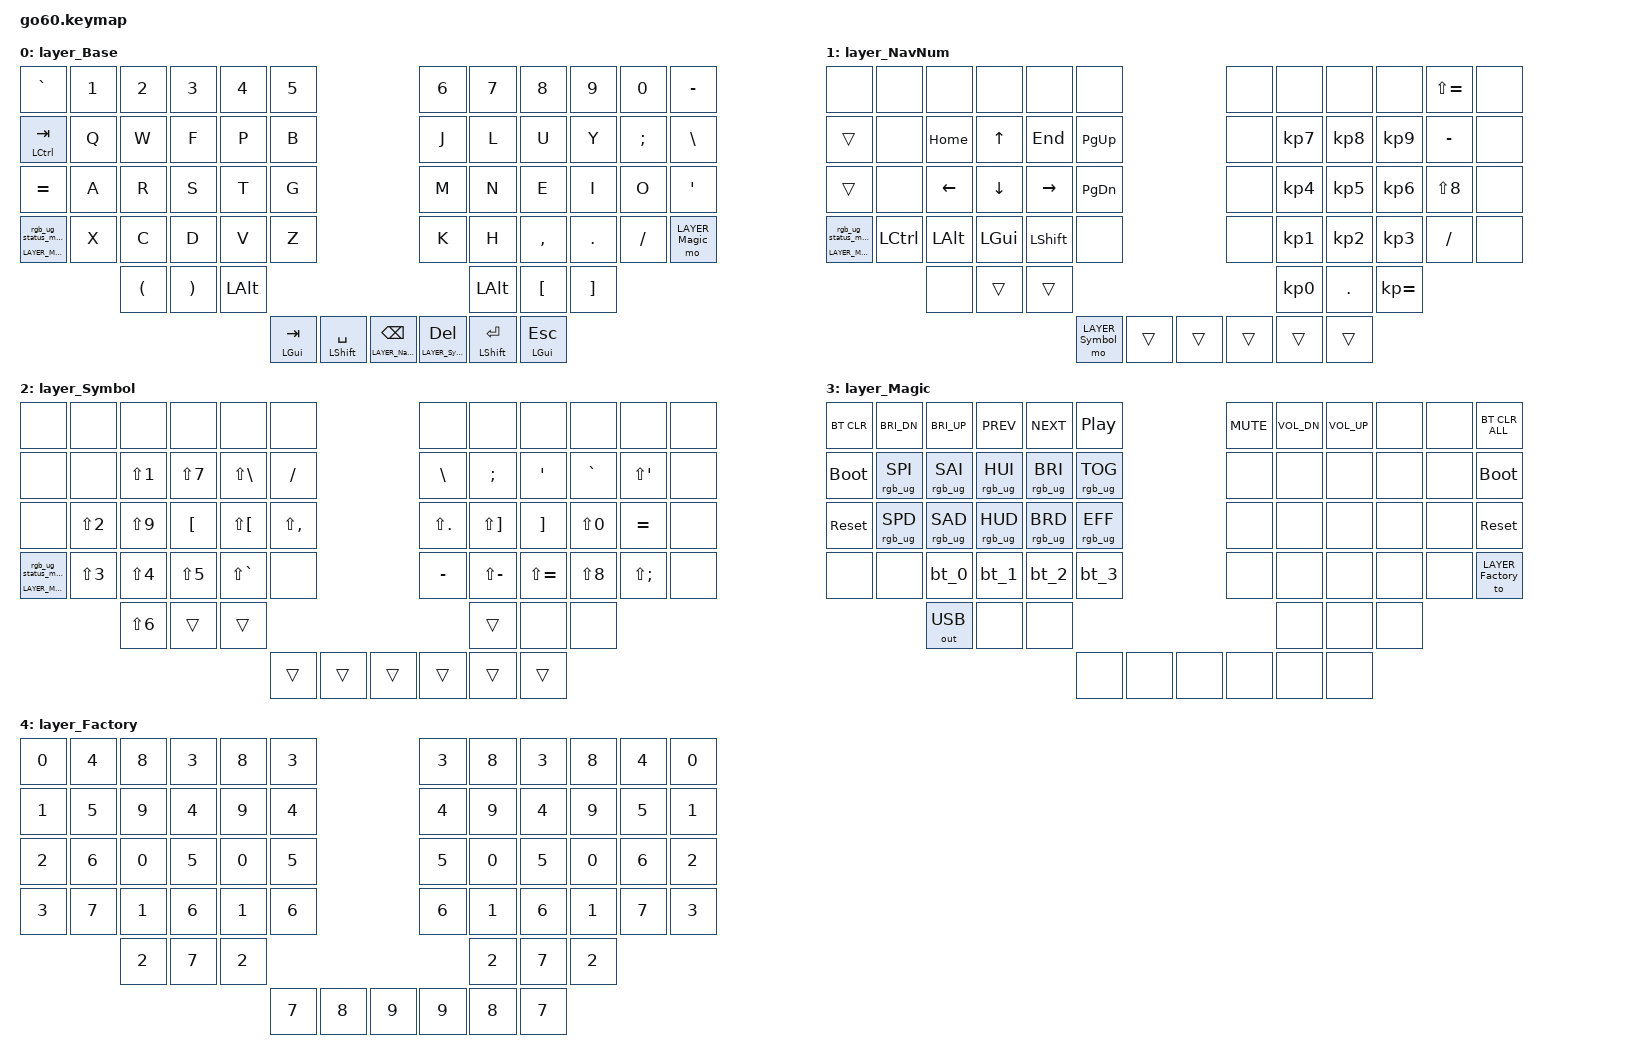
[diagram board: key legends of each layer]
/*
 * Copyright (c) 2020 The ZMK Contributors
 * Copyright (c) 2025 Innaworks Development Limited, trading as MoErgo
 *
 * SPDX-License-Identifier: MIT
 */


/* THIS FILE WAS GENERATED BY GO60 LAYOUT EDITOR
 *
 * This file was generated automatically. You may or may not want to
 * edit it directly.
 */

#include <behaviors.dtsi>

/* Include all behavior includes needed */

#include <dt-bindings/zmk/outputs.h>
#include <dt-bindings/zmk/keys.h>
#include <dt-bindings/zmk/bt.h>
#include <dt-bindings/zmk/rgb.h>

#include <input/processors.dtsi>
#include <dt-bindings/zmk/input_transform.h>
#include <zephyr/dt-bindings/input/input-event-codes.h>

/* On demand includes */
#include <dt-bindings/zmk/input_transform.h>
#include <dt-bindings/zmk/pointing.h>
#include <input/processors.dtsi>

/* Helper Macros, based on https://github.com/urob/zmk-helpers/ */

#pragma once

#define ZMK_HELPER_STRINGIFY(x) #x

// Preprocessor mechanism to overload macros, cf. https://stackoverflow.com/a/27051616/6114651
#define VARGS_(_10, _9, _8, _7, _6, _5, _4, _3, _2, _1, N, ...) N
#define VARGS(...) VARGS_(__VA_ARGS__, 10, 9, 8, 7, 6, 5, 4, 3, 2, 1, 0)
#define CONCAT_(a, b) a##b
#define CONCAT(a, b) CONCAT_(a, b)

#define ZMK_BEHAVIOR_CORE_tap_dance  \
    compatible = "zmk,behavior-tap-dance"; \
    #binding-cells = <0>

#define ZMK_BEHAVIOR(name, type, ...) \
    name: name { \
        ZMK_BEHAVIOR_CORE_ ## type; \
        __VA_ARGS__ \
    };

#define ZMK_TAP_DANCE(name, ...) \
    ZMK_BEHAVIOR(name, tap_dance, __VA_ARGS__)

#define ZMK_TD_LAYER(name, layer) \
    ZMK_TAP_DANCE(name, \
        tapping-term-ms = <200>; \
        bindings = <&mo layer>, <&to layer>; \
)





/* Key positions */

#define POS_LH_C6R1 0
#define POS_LH_C5R1 1
#define POS_LH_C4R1 2
#define POS_LH_C3R1 3
#define POS_LH_C2R1 4
#define POS_LH_C1R1 5
#define POS_RH_C1R1 6
#define POS_RH_C2R1 7
#define POS_RH_C3R1 8
#define POS_RH_C4R1 9
#define POS_RH_C5R1 10
#define POS_RH_C6R1 11
#define POS_LH_C6R2 12
#define POS_LH_C5R2 13
#define POS_LH_C4R2 14
#define POS_LH_C3R2 15
#define POS_LH_C2R2 16
#define POS_LH_C1R2 17
#define POS_RH_C1R2 18
#define POS_RH_C2R2 19
#define POS_RH_C3R2 20
#define POS_RH_C4R2 21
#define POS_RH_C5R2 22
#define POS_RH_C6R2 23
#define POS_LH_C6R3 24
#define POS_LH_C5R3 25
#define POS_LH_C4R3 26
#define POS_LH_C3R3 27
#define POS_LH_C2R3 28
#define POS_LH_C1R3 29
#define POS_RH_C1R3 30
#define POS_RH_C2R3 31
#define POS_RH_C3R3 32
#define POS_RH_C4R3 33
#define POS_RH_C5R3 34
#define POS_RH_C6R3 35
#define POS_LH_C6R4 36
#define POS_LH_C5R4 37
#define POS_LH_C4R4 38
#define POS_LH_C3R4 39
#define POS_LH_C2R4 40
#define POS_LH_C1R4 41
#define POS_RH_C1R4 42
#define POS_RH_C2R4 43
#define POS_RH_C3R4 44
#define POS_RH_C4R4 45
#define POS_RH_C5R4 46
#define POS_RH_C6R4 47
#define POS_LH_C4R5 48
#define POS_LH_C3R5 49
#define POS_LH_C2R5 50
#define POS_RH_C2R5 51
#define POS_RH_C3R5 52
#define POS_RH_C4R5 53
#define POS_LH_T1 54
#define POS_LH_T2 55
#define POS_LH_T3 56
#define POS_RH_T3 57
#define POS_RH_T2 58
#define POS_RH_T1 59


#define LEFT_HAND_KEYS \
  POS_LH_C1R1 POS_LH_C2R1 POS_LH_C3R1 POS_LH_C4R1 POS_LH_C5R1 POS_LH_C6R1 \
  POS_LH_C1R2 POS_LH_C2R2 POS_LH_C3R2 POS_LH_C4R2 POS_LH_C5R2 POS_LH_C6R2 \
  POS_LH_C1R3 POS_LH_C2R3 POS_LH_C3R3 POS_LH_C4R3 POS_LH_C5R3 POS_LH_C6R3 \
  POS_LH_C1R4 POS_LH_C2R4 POS_LH_C3R4 POS_LH_C4R4 POS_LH_C5R4 POS_LH_C6R4 \
              POS_LH_C2R5 POS_LH_C3R5 POS_LH_C4R5

#define RIGHT_HAND_KEYS \
  POS_RH_C1R1 POS_RH_C2R1 POS_RH_C3R1 POS_RH_C4R1 POS_RH_C5R1 POS_RH_C6R1 \
  POS_RH_C1R2 POS_RH_C2R2 POS_RH_C3R2 POS_RH_C4R2 POS_RH_C5R2 POS_RH_C6R2 \
  POS_RH_C1R3 POS_RH_C2R3 POS_RH_C3R3 POS_RH_C4R3 POS_RH_C5R3 POS_RH_C6R3 \
  POS_RH_C1R4 POS_RH_C2R4 POS_RH_C3R4 POS_RH_C4R4 POS_RH_C5R4 POS_RH_C6R4 \
              POS_RH_C2R5 POS_RH_C3R5 POS_RH_C4R5

#define THUMB_KEYS \
  POS_LH_T1 POS_LH_T2 POS_LH_T3 \
  POS_RH_T1 POS_RH_T2 POS_RH_T3

/* Environment and metadata defines */
#define KB_TYPE_GLOVE_80 1
#define KB_TYPE_GO_60    2

#define KB_TYPE          KB_TYPE_GO_60
#define EDITOR_HOST_OS   'M'

/* Automatically generated layer name defines */
#define LAYER_Base 0
#define LAYER_NavNum 1
#define LAYER_Symbol 2
#define LAYER_Magic 3
#define LAYER_Factory 4

/* To deal with the situation where there is no Lower layer, to keep &lower happy */
#ifndef LAYER_Lower
#define LAYER_Lower 0
#endif

/* Generated input processors */
/ {
    input_processors {
        zip_click_to_right_click_mapper: zip_click_to_right_click_mapper {
            compatible = "zmk,input-processor-code-mapper";
            #input-processor-cells = <0>;
            type = <INPUT_EV_KEY>;
            map = <INPUT_BTN_0 INPUT_BTN_1>;
        };
    };
};

/* Custom Device-tree */


/* Input Listeners */
&cirque_rh_listener {
    input-processors = <&zip_xy_scaler 3 1>;
    layer_Symbol {
        layers = <LAYER_Symbol>;
        input-processors = <&zip_xy_scaler 9 1>;
    };
};

&cirque_lh_listener {
    input-processors = <&zip_xy_scaler 11 12>, <&zip_xy_transform INPUT_TRANSFORM_Y_INVERT>, <&zip_xy_to_scroll_mapper>, <&zip_click_to_right_click_mapper>;
    layer_Factory {
        layers = <LAYER_Factory>;
        input-processors = <&zip_xy_scaler 3 1>;
    };
};

/* System behavior and macros */
/ {
    behaviors {
        ZMK_TD_LAYER(lower, LAYER_Lower)
    };
};

/ {
    macros {
        rgb_ug_status_macro: rgb_ug_status_macro {
            label = "RGB_UG_STATUS";
            compatible = "zmk,behavior-macro";
            #binding-cells = <0>;
            bindings
                = <&rgb_ug RGB_STATUS>;
        };
    };
};

/ {
#ifdef BT_DISC_CMD
    behaviors {
        bt_0: bt_0 {
            compatible = "zmk,behavior-tap-dance";
            label = "BT_0";
            #binding-cells = <0>;
            tapping-term-ms = <200>;
            bindings = <&bt_select_0>, <&bt BT_DISC 0>;
        };
        bt_1: bt_1 {
            compatible = "zmk,behavior-tap-dance";
            label = "BT_1";
            #binding-cells = <0>;
            tapping-term-ms = <200>;
            bindings = <&bt_select_1>, <&bt BT_DISC 1>;
        };
        bt_2: bt_2 {
            compatible = "zmk,behavior-tap-dance";
            label = "BT_2";
            #binding-cells = <0>;
            tapping-term-ms = <200>;
            bindings = <&bt_select_2>, <&bt BT_DISC 2>;
        };
        bt_3: bt_3 {
            compatible = "zmk,behavior-tap-dance";
            label = "BT_3";
            #binding-cells = <0>;
            tapping-term-ms = <200>;
            bindings = <&bt_select_3>, <&bt BT_DISC 3>;
        };
    };
    macros {
        bt_select_0: bt_select_0 {
            label = "BT_SELECT_0";
            compatible = "zmk,behavior-macro";
            #binding-cells = <0>;
            bindings
                = <&out OUT_BLE>,
                  <&bt BT_SEL 0>;
        };
        bt_select_1: bt_select_1 {
            label = "BT_SELECT_1";
            compatible = "zmk,behavior-macro";
            #binding-cells = <0>;
            bindings
                = <&out OUT_BLE>,
                  <&bt BT_SEL 1>;
        };
        bt_select_2: bt_select_2 {
            label = "BT_SELECT_2";
            compatible = "zmk,behavior-macro";
            #binding-cells = <0>;
            bindings
                = <&out OUT_BLE>,
                  <&bt BT_SEL 2>;
        };
        bt_select_3: bt_select_3 {
            label = "BT_SELECT_3";
            compatible = "zmk,behavior-macro";
            #binding-cells = <0>;
            bindings
                = <&out OUT_BLE>,
                  <&bt BT_SEL 3>;
        };
    };
#else
    macros {
        bt_0: bt_0 {
            label = "BT_0";
            compatible = "zmk,behavior-macro";
            #binding-cells = <0>;
            bindings
                = <&out OUT_BLE>,
                  <&bt BT_SEL 0>;
        };
        bt_1: bt_1 {
            label = "BT_1";
            compatible = "zmk,behavior-macro";
            #binding-cells = <0>;
            bindings
                = <&out OUT_BLE>,
                  <&bt BT_SEL 1>;
        };
        bt_2: bt_2 {
            label = "BT_2";
            compatible = "zmk,behavior-macro";
            #binding-cells = <0>;
            bindings
                = <&out OUT_BLE>,
                  <&bt BT_SEL 2>;
        };
        bt_3: bt_3 {
            label = "BT_3";
            compatible = "zmk,behavior-macro";
            #binding-cells = <0>;
            bindings
                = <&out OUT_BLE>,
                  <&bt BT_SEL 3>;
        };
    };
#endif
};

/ {
    behaviors {
        magic: magic {
            compatible = "zmk,behavior-hold-tap";
            label = "MAGIC_HOLD_TAP";
            #binding-cells = <2>;
            flavor = "tap-preferred";
            tapping-term-ms = <200>;
            bindings = <&mo>, <&rgb_ug_status_macro>;
        };
    };
};


/* Custom Defined Behaviors */
// Tap then hold the Symbol thumb (Delete) to repeat Delete.
&lt {
    quick-tap-ms = <200>;
};

/ {
    behaviors {
        // Nav thumb: tap = Backspace, hold = NavNum.
        // "balanced" so a quick Nav+arrow still counts as a hold.
        lt_nav: lt_nav {
            compatible = "zmk,behavior-hold-tap";
            #binding-cells = <2>;
            flavor = "balanced";
            tapping-term-ms = <200>;
            quick-tap-ms = <200>;
            bindings = <&mo>, <&kp>;
        };
        // Tab/Ctrl edge key and Space/Shift, Enter/Shift, Esc/Cmd thumbs: tap = key, hold = modifier.
        // Tap then hold repeats the key.
        mt_thumb: mt_thumb {
            compatible = "zmk,behavior-hold-tap";
            #binding-cells = <2>;
            flavor = "balanced";
            tapping-term-ms = <200>;
            quick-tap-ms = <200>;
            bindings = <&kp>, <&kp>;
        };
    };
};

/* Automatically generated macro definitions */
/ {
    macros {

    };
};

/* Automatically generated behavior definitions */
/ {
    behaviors {

    };
};

/* Automatically generated combos definitions */


/* Automatically generated keymap */
/ {
    keymap {
        compatible = "zmk,keymap";


        layer_Base {
            bindings = <
              &kp GRAVE  &kp N1     &kp N2   &kp N3    &kp N4  &kp N5                                                                                              &kp N6     &kp N7     &kp N8    &kp N9    &kp N0        &kp MINUS
              &mt_thumb LCTRL TAB   &kp Q      &kp W    &kp F     &kp P   &kp B                                                                                               &kp J      &kp L      &kp U     &kp Y  &kp SEMI         &kp BSLH
            &kp EQUAL   &kp A      &kp R    &kp S     &kp T   &kp G                                                                                               &kp M      &kp N      &kp E     &kp I     &kp O          &kp SQT
 &magic LAYER_Magic 0   &kp X      &kp C    &kp D     &kp V   &kp Z                                                                                               &kp K      &kp H  &kp COMMA   &kp DOT  &kp FSLH  &mo LAYER_Magic
                               &kp LPAR  &kp RPAR  &kp LALT                                                                                                              &kp LALT   &kp LBKT  &kp RBKT
                                                                     &mt LGUI TAB  &mt_thumb LSHFT SPACE  &lt_nav LAYER_NavNum BSPC  &lt LAYER_Symbol DEL  &mt_thumb LSHFT RET  &mt_thumb LGUI ESC
            >;
        };

        layer_NavNum {
            bindings = <
                &none   &none     &none     &none      &none      &none                                                              &none      &none      &none         &none  &kp LS(EQUAL)   &none
               &trans   &none  &kp HOME    &kp UP    &kp END  &kp PG_UP                                                              &none  &kp KP_N7  &kp KP_N8     &kp KP_N9      &kp MINUS   &none
               &trans   &none  &kp LEFT  &kp DOWN  &kp RIGHT  &kp PG_DN                                                              &none  &kp KP_N4  &kp KP_N5     &kp KP_N6     &kp LS(N8)   &none
 &magic LAYER_Magic 0   &kp LCTRL  &kp LALT  &kp LGUI  &kp LSHFT  &none                                                              &none  &kp KP_N1  &kp KP_N2     &kp KP_N3       &kp FSLH   &none
                                  &none    &trans     &trans                                                                                &kp KP_N0    &kp DOT  &kp KP_EQUAL
                                                                         &mo LAYER_Symbol  &trans  &trans  &trans  &trans  &trans
            >;
        };

        layer_Symbol {
            bindings = <
                &none       &none       &none       &none         &none          &none                                                        &none         &none     &none       &none   &none   &none
                &none       &none  &kp LS(N1)  &kp LS(N7)  &kp LS(BSLH)       &kp FSLH                                                     &kp BSLH      &kp SEMI   &kp SQT   &kp GRAVE   &kp LS(SQT)   &none
                &none  &kp LS(N2)  &kp LS(N9)    &kp LBKT  &kp LS(LBKT)  &kp LS(COMMA)                                                  &kp LS(DOT)  &kp LS(RBKT)  &kp RBKT  &kp LS(N0)   &kp EQUAL   &none
 &magic LAYER_Magic 0  &kp LS(N3)  &kp LS(N4)  &kp LS(N5)  &kp LS(GRAVE)          &none                                                    &kp MINUS  &kp LS(MINUS)  &kp LS(EQUAL)  &kp LS(N8)   &kp LS(SEMI)   &none
                                   &kp LS(N6)      &trans        &trans                                                                                    &trans     &none       &none
                                                                                         &trans  &trans  &trans  &trans  &trans  &trans
            >;
        };

        layer_Magic {
            bindings = <
  &bt BT_CLR     &kp C_BRI_DN     &kp C_BRI_UP       &kp C_PREV       &kp C_NEXT         &kp C_PP                                                  &kp C_MUTE  &kp C_VOL_DN  &kp C_VOL_UP   &none   &none     &bt BT_CLR_ALL
 &bootloader  &rgb_ug RGB_SPI  &rgb_ug RGB_SAI  &rgb_ug RGB_HUI  &rgb_ug RGB_BRI  &rgb_ug RGB_TOG                                                       &none         &none         &none   &none   &none        &bootloader
  &sys_reset  &rgb_ug RGB_SPD  &rgb_ug RGB_SAD  &rgb_ug RGB_HUD  &rgb_ug RGB_BRD  &rgb_ug RGB_EFF                                                       &none         &none         &none   &none   &none         &sys_reset
       &none            &none            &bt_0            &bt_1            &bt_2            &bt_3                                                       &none         &none         &none   &none   &none  &to LAYER_Factory
                                  &out OUT_USB            &none            &none                                                                                      &none         &none   &none
                                                                                                    &none   &none   &none   &none   &none   &none
            >;
        };

        layer_Factory {
            bindings = <
 &kp N0  &kp N4  &kp N8  &kp N3  &kp N8  &kp N3                                                  &kp N3  &kp N8  &kp N3  &kp N8  &kp N4  &kp N0
 &kp N1  &kp N5  &kp N9  &kp N4  &kp N9  &kp N4                                                  &kp N4  &kp N9  &kp N4  &kp N9  &kp N5  &kp N1
 &kp N2  &kp N6  &kp N0  &kp N5  &kp N0  &kp N5                                                  &kp N5  &kp N0  &kp N5  &kp N0  &kp N6  &kp N2
 &kp N3  &kp N7  &kp N1  &kp N6  &kp N1  &kp N6                                                  &kp N6  &kp N1  &kp N6  &kp N1  &kp N7  &kp N3
                 &kp N2  &kp N7  &kp N2                                                                  &kp N2  &kp N7  &kp N2
                                                 &kp N7  &kp N8  &kp N9  &kp N9  &kp N8  &kp N7
            >;
        };

    };
};
